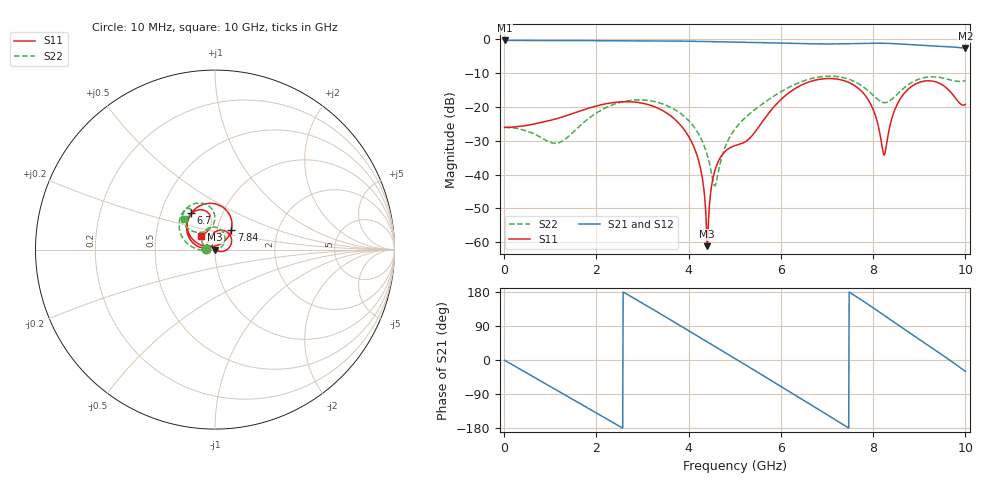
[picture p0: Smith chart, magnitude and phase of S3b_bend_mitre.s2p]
! kicad_em_sim: S-parameters of 2 ports, openEMS
# Hz S RI R 50
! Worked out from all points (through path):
!   1000 points, 10 MHz to 10 GHz, reference 50 ohm
!   highest |S21| = -0.46 dB at 10 MHz (marker M1); lowest = -2.8 dB at 10 GHz (marker M2)
!   group delay of S21, straight-line fit = 206 ps
!   lowest |S11| = -61.1 dB at 4.4 GHz (marker M3), VSWR 1.00, Z = 50 - j0.0866 ohm
!   |S11| at or under -10 dB: start of sweep to end of sweep
!   |S22| runs from -43.3 to -11.0 dB; largest |S21 - S12| = 0.0042
!   S11 on the Smith chart (normalised r, x): 10 MHz: 0.91, +0.00; 6.7 GHz: 0.71, +0.30; 7.84 GHz: 1.17, +0.26; 10 GHz: 0.85, +0.13
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1e7  -0.0497 0.00066  0.9486 -0.0116  0.9486 -0.0116  -0.0497 0.000617
9.3e8  -0.0344 0.0507  0.404 -0.857  0.4041 -0.8571  -0.0237 0.0205
1.68e9  -0.0127 0.0872  -0.4306 -0.8401  -0.431 -0.8404  -0.0528 0.0156
2.52e9  0.0556 0.1039  -0.9369 -0.0616  -0.937 -0.0605  -0.0622 0.0982
3.34e9  0.0897 0.0306  -0.5396 0.7629  -0.5384 0.7625  0.0333 0.1105
4.1e9  0.0247 -0.0103  0.3155 0.867  0.315 0.8666  0.0452 0.026
4.27e9  0.00937 -0.00612  0.4924 0.7748  0.492 0.7747  0.0321 0.0105
4.4e9  -0.000145 -0.000867  0.6111 0.6798  0.6108 0.6799  0.0197 0.00139
4.58e9  -0.00948 0.00749  0.7452 0.5194  0.7452 0.5196  0.000458 -0.00696
5.01e9  -0.0192 0.0187  0.8935 0.0536  0.8939 0.0531  -0.0465 -0.00953
5.92e9  -0.1092 0.0261  0.3833 -0.7823  0.3824 -0.7824  -0.1509 0.0316
6.67e9  -0.1382 0.195  -0.4199 -0.7353  -0.4212 -0.7349  -0.1946 0.1734
6.7e9  -0.1335 0.2021  -0.4478 -0.7179  -0.449 -0.7175  -0.1925 0.1801
7.31e9  0.0236 0.2473  -0.8264 -0.1832  -0.8265 -0.1805  -0.083 0.2593
7.84e9  0.0911 0.11  -0.7525 0.4195  -0.7493 0.4205  -0.00108 0.184
8.05e9  0.0548 0.0491  -0.5958 0.6256  -0.5926 0.6249  -0.0125 0.1364
8.22e9  0.00225 0.0204  -0.4229 0.7507  -0.4206 0.7489  -0.0422 0.1073
8.34e9  -0.0407 0.0165  -0.2835 0.8091  -0.282 0.8069  -0.0705 0.0967
8.59e9  -0.1204 0.0527  0.0243 0.8416  0.0245 0.8397  -0.1323 0.1062
9e9  -0.1471 0.175  0.469 0.6587  0.4694 0.6577  -0.1802 0.1825
9.52e9  -0.036 0.2025  0.7585 0.156  0.758 0.1529  -0.137 0.2261
1e10  -0.0754 0.0775  0.6304 -0.3649  0.6263 -0.3656  -0.1743 0.1713
